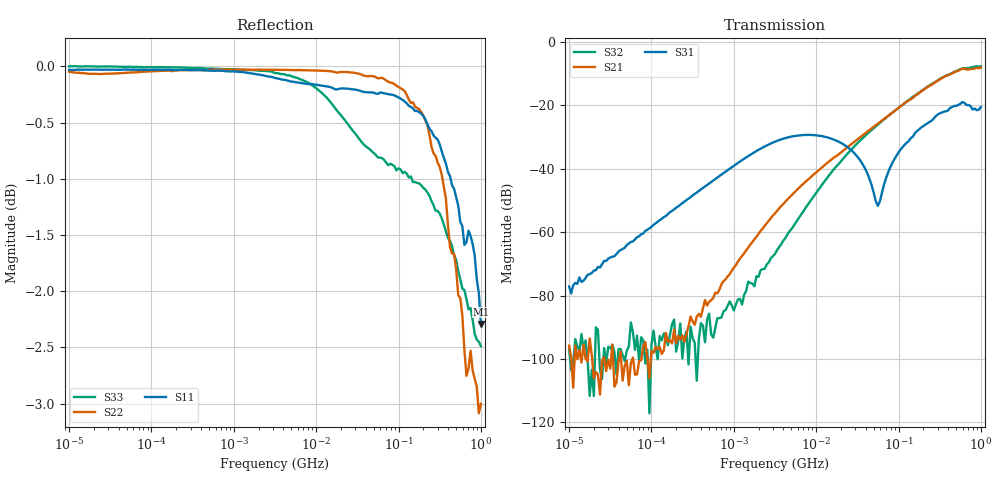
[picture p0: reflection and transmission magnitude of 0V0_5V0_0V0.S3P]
!Keysight Technologies,E5080A,MY55100144,A.11.70.03
!Date: Monday, November 13, 2017 17:25:27
!Correction: S11(Full 3 Port(1,2,3))
!S12(Full 3 Port(1,2,3))
!S13(Full 3 Port(1,2,3))
!S21(Full 3 Port(1,2,3))
!S22(Full 3 Port(1,2,3))
!S23(Full 3 Port(1,2,3))
!S31(Full 3 Port(1,2,3))
!S32(Full 3 Port(1,2,3))
!S33(Full 3 Port(1,2,3))
!S3P File: Measurements: <S11,S12,S13>,
!<S21,S22,S23>,
!<S31,S32,S33>:Log Frequency Sweep
# Hz S  RI  R 50
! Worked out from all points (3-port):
!   201 points, 10 kHz to 1 GHz, reference 50 ohm
!   strongest paths, dB at 10 kHz, 177.8 kHz, 3.162 MHz, 56.23 MHz, 1 GHz:
!     S31: -77.1, -53.2, -31.4, -51.7, -20.5
!     S21: -95.8, -95.1, -54.0, -25.7, -8.0
!     S32: -96.7, -89.0, -66.8, -26.0, -7.6
!   lowest |S11| = -2.3 dB at 1 GHz (marker M1), VSWR 7.63, Z = 381 + j0.0937 ohm
!   |S11| at or under -10 dB: nowhere
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10000  0.9963 -0.00558  3.23e-06 -8.07e-06  -4.49e-06 0.000148
       -1.31e-05 -9.63e-06  0.4709 -0.8759  -1.64e-05 1.62e-06
       1.64e-06 0.00014  1.15e-05 8.94e-06  0.9999 -0.00249
50118.72  0.9962 -0.028  -2.41e-05 -7.75e-07  1.67e-05 0.000618
          -7.39e-06 5.79e-06  -0.7915 -0.6002  7.39e-06 6.02e-06
          -3.16e-06 0.000632  3.18e-06 1.31e-05  0.9993 -0.00572
562341.3  0.9475 -0.305  -7.96e-05 6e-05  0.00143 0.00639
          -7.94e-05 4.68e-05  -0.9948 -0.0576  -2.66e-05 3.47e-05
          0.00143 0.00641  -7.12e-06 2.06e-05  0.9959 -0.0542
3162278  0.1196 -0.9808  -0.00134 0.00147  0.0207 0.0171
         -0.00132 0.00149  -0.9964 0.0046  -0.000412 0.000239
         0.0209 0.017  -0.000386 0.000241  0.95 -0.2891
2.113489e7  -0.9424 -0.2598  -0.00114 0.0191  0.0197 -0.0147
            -0.00119 0.0192  -0.9893 0.098  -0.00854 0.0116
            0.0198 -0.0147  -0.00855 0.0116  -0.0181 -0.9485
5.623413e7  -0.9706 0.0547  0.00887 0.051  0.0026 0.000446
            0.00896 0.0511  -0.9532 0.2587  -0.00527 0.0499
            0.00257 0.000456  -0.00528 0.0499  -0.761 -0.5005
1.059254e8  -0.9331 0.2557  0.0376 0.0894  0.00783 0.0186
            0.0377 0.0895  -0.8606 0.4643  0.0231 0.0945
            0.00778 0.0186  0.0231 0.0944  -0.8952 -0.091
3.758374e8  -0.3692 0.8266  0.29 0.0332  0.0808 -0.006
            0.2902 0.0332  0.0973 0.868  0.2898 0.0579
            0.0809 -0.00598  0.2895 0.058  -0.487 0.6899
7.079458e8  0.4641 0.7063  0.1989 -0.3125  0.0118 -0.1013
            0.1988 -0.3126  0.6981 0.2267  0.2461 -0.3028
            0.0118 -0.1012  0.2463 -0.3023  0.2566 0.7364
1e9  0.7681 5.04e-05  -0.1 -0.3851  -0.0566 -0.0751
     -0.1006 -0.3851  0.5907 -0.3902  -0.0462 -0.4145
     -0.0568 -0.0754  -0.0458 -0.4147  0.6829 0.3122
